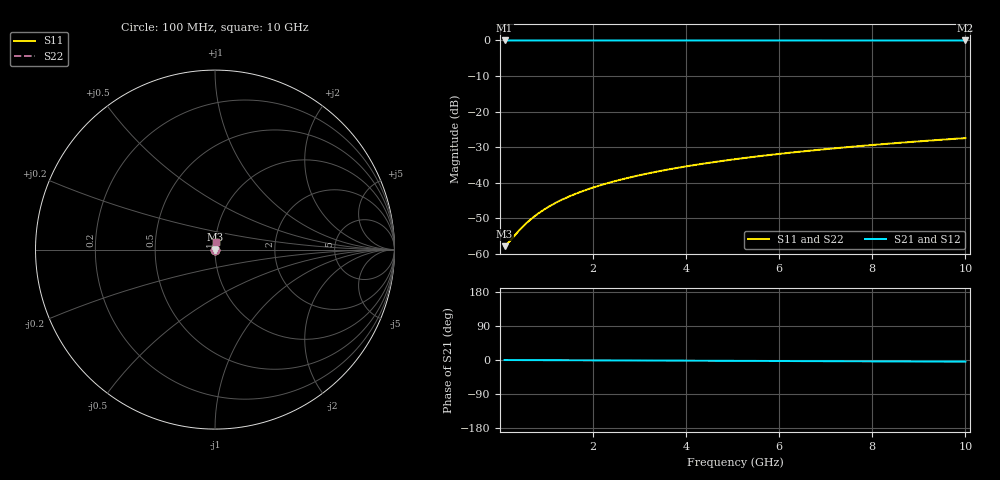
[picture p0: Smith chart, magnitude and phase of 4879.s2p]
# Hz S RI R 50.00
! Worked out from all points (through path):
!   100 points, 100 MHz to 10 GHz, reference 50 ohm
!   highest |S21| = -0.01 dB at 100 MHz (marker M1); lowest = 0.0 dB at 10 GHz (marker M2)
!   lowest |S11| = -57.8 dB at 100 MHz (marker M3), VSWR 1.00, Z = 50.1 + j0.0423 ohm
!   |S11| at or under -10 dB: start of sweep to end of sweep
!   |S22| runs from -57.8 to -27.5 dB; largest |S21 - S12| = 1e-15
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1e8  0.00121 0.000422  0.9988 -0.000774  0.9988 -0.000774  0.00121 0.000422
2e8  0.00122 0.000844  0.9988 -0.00155  0.9988 -0.00155  0.00122 0.000844
4e8  0.00124 0.00169  0.9988 -0.0031  0.9988 -0.0031  0.00124 0.00169
5e8  0.00124 0.00211  0.9988 -0.00387  0.9988 -0.00387  0.00124 0.00211
6e8  0.00125 0.00253  0.9987 -0.00464  0.9987 -0.00464  0.00125 0.00253
7e8  0.00126 0.00295  0.9987 -0.00542  0.9987 -0.00542  0.00126 0.00295
8e8  0.00127 0.00338  0.9987 -0.00619  0.9987 -0.00619  0.00127 0.00338
1e9  0.00128 0.00422  0.9987 -0.00774  0.9987 -0.00774  0.00128 0.00422
1.2e9  0.0013 0.00506  0.9987 -0.00929  0.9987 -0.00929  0.0013 0.00506
1.5e9  0.00133 0.00633  0.9986 -0.0116  0.9986 -0.0116  0.00133 0.00633
1.8e9  0.00137 0.0076  0.9986 -0.0139  0.9986 -0.0139  0.00137 0.0076
2.1e9  0.00141 0.00886  0.9986 -0.0163  0.9986 -0.0163  0.00141 0.00886
2.5e9  0.00148 0.0105  0.9985 -0.0194  0.9985 -0.0194  0.00148 0.0105
2.9e9  0.00156 0.0122  0.9984 -0.0225  0.9984 -0.0225  0.00156 0.0122
3.4e9  0.00167 0.0143  0.9983 -0.0263  0.9983 -0.0263  0.00167 0.0143
4.2e9  0.00187 0.0177  0.998 -0.0325  0.998 -0.0325  0.00187 0.0177
5.1e9  0.00216 0.0215  0.9977 -0.0395  0.9977 -0.0395  0.00216 0.0215
5.9e9  0.00245 0.0249  0.9973 -0.0457  0.9973 -0.0457  0.00245 0.0249
6.7e9  0.00279 0.0283  0.9969 -0.0519  0.9969 -0.0519  0.00279 0.0283
7.5e9  0.00317 0.0316  0.9964 -0.0581  0.9964 -0.0581  0.00317 0.0316
8.4e9  0.00365 0.0354  0.9959 -0.0651  0.9959 -0.0651  0.00365 0.0354
1e10  0.00464 0.0421  0.9947 -0.0775  0.9947 -0.0775  0.00464 0.0421
